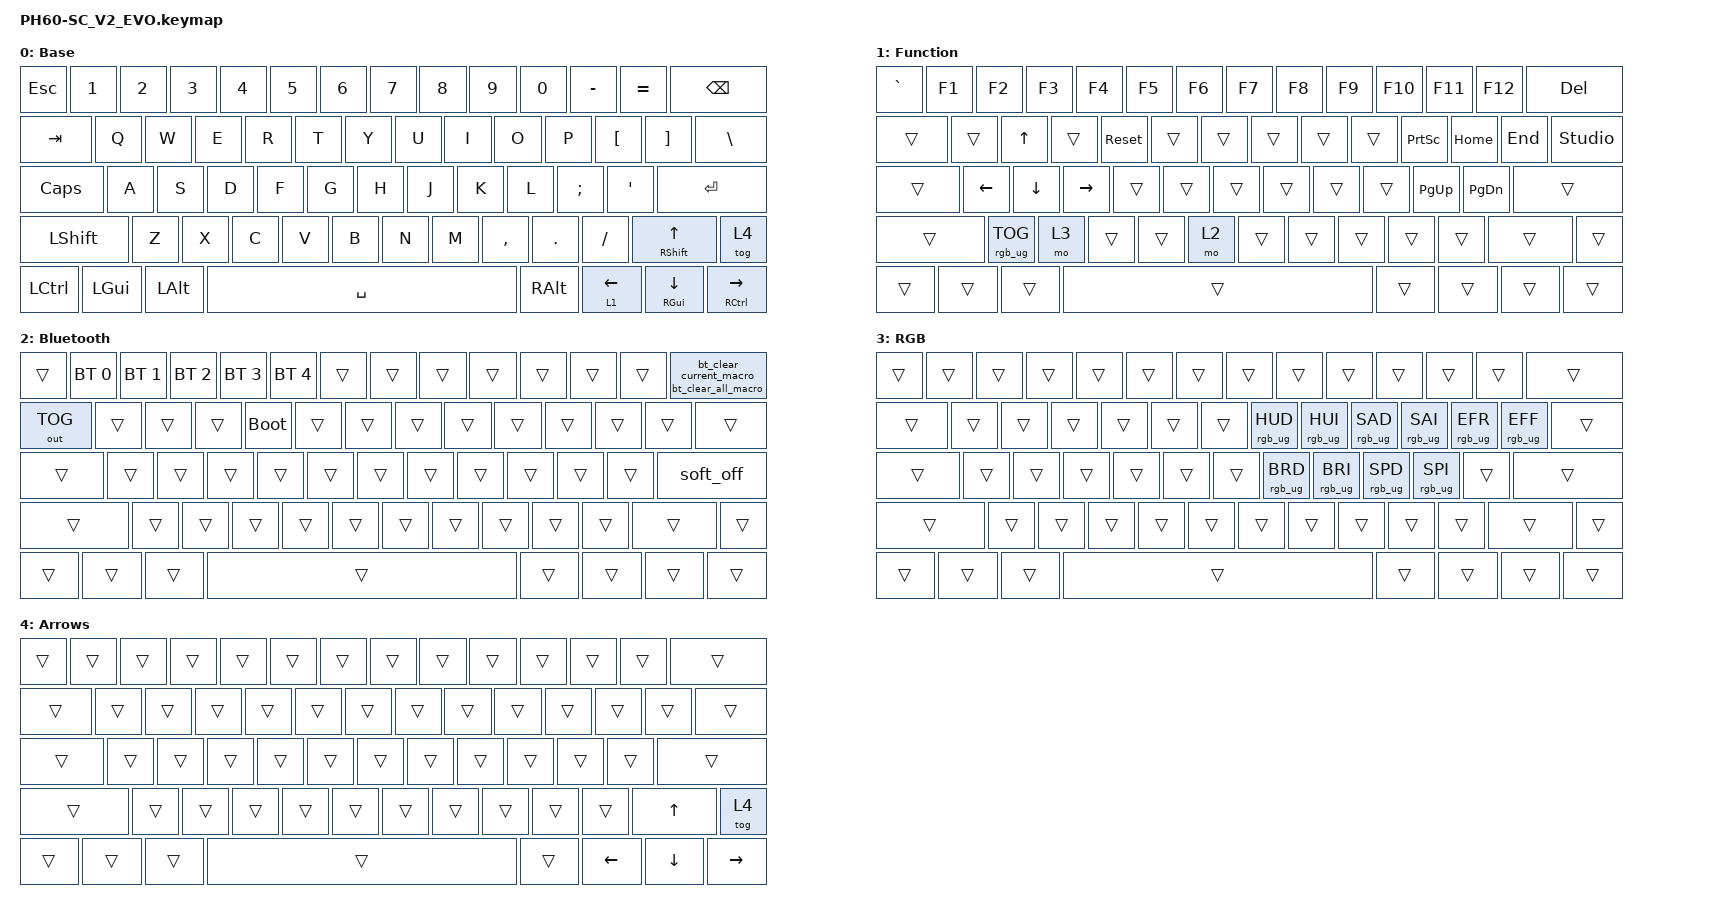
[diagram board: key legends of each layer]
/*
 * Copyright (c) 2025 Team PHDesign
 *
 * SPDX-License-Identifier: MIT
 */

#include <behaviors.dtsi>
#include <dt-bindings/zmk/keys.h>
#include <dt-bindings/zmk/bt.h>
#include <dt-bindings/zmk/outputs.h>
#include <dt-bindings/zmk/rgb.h>
#include <dt-bindings/zmk/hid_indicators.h>
#include <dt-bindings/zmk/pointing.h>

#define LAYER_Base 0
#define LAYER_Function 1
#define LAYER_Bluetooth 2
#define LAYER_RGB 3
#define LAYER_Arrows 4

#include "PH60-SC_V2_EVO-rgb.dtsi"



/ {

    behaviors {
        
        // Macro to clear current BT profile (tap)
        bt_clear_current_macro: bt_clear_current_macro {
            compatible = "zmk,behavior-macro";
            #binding-cells = <0>;
            bindings = <&bt BT_CLR>;
        };

        // Macro to clear all BT profiles (hold)
        bt_clear_all_macro: bt_clear_all_macro {
            compatible = "zmk,behavior-macro";
            #binding-cells = <0>;
            bindings = <&bt BT_CLR_ALL>;
        };

        // Hold to clear all BT profiles, Tap to clear current
        bt_clear_holdtap: bt_clear_holdtap {
            compatible = "zmk,behavior-hold-tap";
            #binding-cells = <2>;
            flavor = "tap-preferred";
            tapping-term-ms = <3000>;
            bindings = <&bt_clear_all_macro>, <&bt_clear_current_macro>;
        };

        // Default mod-tap — hold-preferred, 200ms
        ht_def: ht_def {
            compatible = "zmk,behavior-hold-tap";
            #binding-cells = <2>;
            flavor = "hold-preferred";
            tapping-term-ms = <200>;
            bindings = <&kp>, <&kp>;
        };

        // Fast mod-tap — balanced, 150ms, quick-tap 100ms
        ht_fast: ht_fast {
            compatible = "zmk,behavior-hold-tap";
            #binding-cells = <2>;
            flavor = "balanced";
            tapping-term-ms = <150>;
            quick-tap-ms = <100>;
            bindings = <&kp>, <&kp>;
        };

        // Slow layer-tap — tap-preferred, 280ms, retro-tap on
        ht_slow: ht_slow {
            compatible = "zmk,behavior-hold-tap";
            #binding-cells = <2>;
            flavor = "tap-preferred";
            tapping-term-ms = <280>;
            retro-tap;
            bindings = <&mo>, <&kp>;
        };

        // User slots — default to hold-preferred 200ms, tweak in Studio
        ht_user1: ht_user1 {
            compatible = "zmk,behavior-hold-tap";
            #binding-cells = <2>;
            flavor = "hold-preferred";
            tapping-term-ms = <200>;
            bindings = <&kp>, <&kp>;
        };

        ht_user2: ht_user2 {
            compatible = "zmk,behavior-hold-tap";
            #binding-cells = <2>;
            flavor = "hold-preferred";
            tapping-term-ms = <200>;
            bindings = <&kp>, <&kp>;
        };

        ht_user3: ht_user3 {
            compatible = "zmk,behavior-hold-tap";
            #binding-cells = <2>;
            flavor = "hold-preferred";
            tapping-term-ms = <200>;
            bindings = <&kp>, <&kp>;
        };

        ht_user4: ht_user4 {
            compatible = "zmk,behavior-hold-tap";
            #binding-cells = <2>;
            flavor = "hold-preferred";
            tapping-term-ms = <200>;
            bindings = <&kp>, <&kp>;
        };
    };
    
    combos {
        compatible = "zmk,combos";

        combo_reserved_0 {
            reserved;
            key-positions = <0 1>;
            bindings = <&none>;
        };

        combo_reserved_1 {
            reserved;
            key-positions = <0 1>;
            bindings = <&none>;
        };

        combo_reserved_2 {
            reserved;
            key-positions = <0 1>;
            bindings = <&none>;
        };

        combo_reserved_3 {
            reserved;
            key-positions = <0 1>;
            bindings = <&none>;
        };

        combo_reserved_4 {
            reserved;
            key-positions = <0 1>;
            bindings = <&none>;
        };
    };

    keymap {
        compatible = "zmk,keymap";

        default_layer {
            display-name = "Base";
            bindings = <
&kp ESC   &kp N1 &kp N2 &kp N3 &kp N4 &kp N5 &kp N6 &kp N7 &kp N8    &kp N9  &kp N0    &kp MINUS &kp EQUAL     &kp BSPC
&kp TAB   &kp Q  &kp W  &kp E  &kp R  &kp T  &kp Y  &kp U  &kp I     &kp O   &kp P     &kp LBKT  &kp RBKT      &kp BSLH
&kp CAPS  &kp A  &kp S  &kp D  &kp F  &kp G  &kp H  &kp J  &kp K     &kp L   &kp SEMI  &kp SQT                 &kp RET
&kp LSHFT        &kp Z  &kp X  &kp C  &kp V  &kp B  &kp N  &kp M     &kp COMMA &kp DOT &kp SLASH               &mt RSHFT UP &tog 4
&kp LCTRL &kp LGUI &kp LALT                 &kp SPACE                &kp RALT  &lt 1 LEFT  &mt RGUI DOWN  &mt RCTRL RIGHT
            >;
        };

        function_layer {
            display-name = "Function";
            bindings = <
&kp GRAVE &kp F1    &kp F2    &kp F3          &kp F4    &kp F5    &kp F6    &kp F7    &kp F8    &kp F9    &kp F10   &kp F11   &kp F12       &kp DEL
&trans    &trans    &kp UP    &trans          &sys_reset  &trans  &trans    &trans    &trans    &trans    &kp PSCRN &kp HOME  &kp END       &studio_unlock
&trans    &kp LEFT  &kp DOWN  &kp RIGHT       &trans      &trans  &trans    &trans    &trans    &trans    &kp PG_UP &kp PG_DN               &trans
&trans              &rgb_ug RGB_TOG &mo 3           &trans          &trans          &mo 2 &trans &trans &trans &trans &trans                  &trans &trans
&trans    &trans    &trans                              &trans                                  &trans    &trans    &trans                  &trans
            >;
        };

        bluetooth_layer {
            display-name = "Bluetooth";
            bindings = <
&trans       &bt BT_SEL 0  &bt BT_SEL 1  &bt BT_SEL 2  &bt BT_SEL 3  &bt BT_SEL 4  &trans  &trans  &trans  &trans  &trans  &trans  &trans  &bt_clear_holdtap 0 0
&out OUT_TOG &trans        &trans        &trans        &bootloader   &trans        &trans  &trans  &trans  &trans  &trans  &trans  &trans  &trans
&trans       &trans        &trans        &trans        &trans        &trans        &trans  &trans  &trans  &trans  &trans  &trans          &soft_off
&trans                     &trans        &trans        &trans        &trans        &trans  &trans  &trans  &trans  &trans  &trans          &trans &trans
&trans       &trans        &trans                                    &trans                        &trans  &trans  &trans                  &trans
            >;
        };

        rgb_layer {
            display-name = "RGB";
            bindings = <
&trans       &trans        &trans        &trans        &trans        &trans        &trans               &trans             &trans             &trans             &trans             &trans              &trans            &trans 
&trans       &trans        &trans        &trans        &trans        &trans        &trans               &rgb_ug RGB_HUD    &rgb_ug RGB_HUI    &rgb_ug RGB_SAD    &rgb_ug RGB_SAI    &rgb_ug RGB_EFR     &rgb_ug RGB_EFF   &trans
&trans       &trans        &trans        &trans        &trans        &trans        &trans               &rgb_ug RGB_BRD    &rgb_ug RGB_BRI    &rgb_ug RGB_SPD    &rgb_ug RGB_SPI    &trans                                &trans
&trans                     &trans        &trans        &trans        &trans        &trans               &trans             &trans             &trans             &trans             &trans                                &trans &trans
&trans       &trans        &trans                                     &trans                                      &trans             &trans             &trans                                &trans
            >;
        };

        arrows_layer {
            display-name = "Arrows";
            bindings = <
&trans &trans &trans &trans &trans &trans &trans &trans &trans &trans &trans &trans &trans &trans
&trans &trans &trans &trans &trans &trans &trans &trans &trans &trans &trans &trans &trans &trans
&trans &trans &trans &trans &trans &trans &trans &trans &trans &trans &trans &trans       &trans
&trans              &trans &trans &trans &trans &trans &trans &trans &trans &trans &trans          &kp UP &tog 4
&trans &trans &trans                   &trans                   &trans &kp LEFT &kp DOWN &kp RIGHT
            >;
        };

        extra2 {
            display-name = "Extra 2";
            status = "reserved";
        };
    };
};
